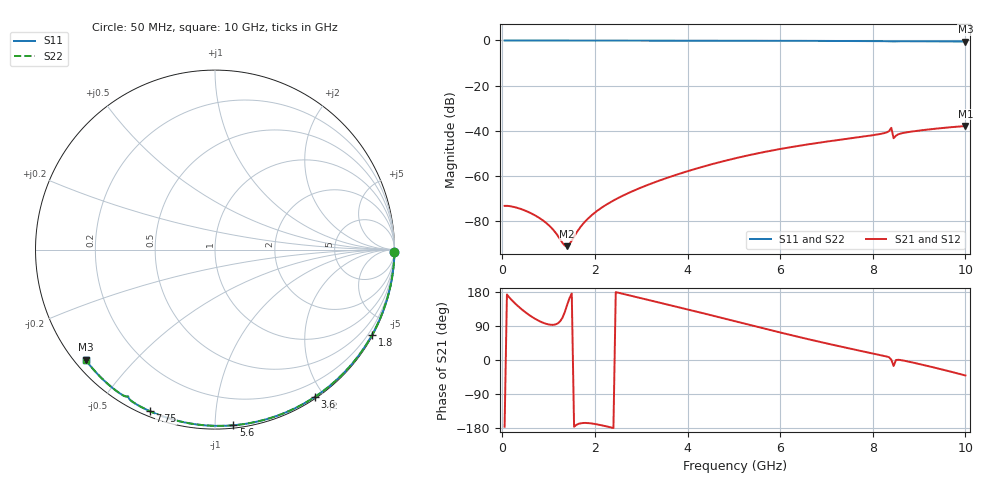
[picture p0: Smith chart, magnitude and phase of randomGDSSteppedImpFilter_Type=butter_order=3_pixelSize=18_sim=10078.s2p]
! freq	dB(S11)	phase(S11)	dB(S12)	phase(S12)
!  dB(S21)	phase(S21)	dB(S22)	phase(S22)
!S-par simulation data
#  GHz  S  DB  R 50
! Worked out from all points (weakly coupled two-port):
!   200 points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, 50 MHz to 10 GHz, reference 50 ohm
!   highest |S21| = -37.90 dB at 10 GHz (marker M1); lowest = -91.1 dB at 1.4 GHz (marker M2)
!   lowest |S11| = -0.5 dB at 10 GHz (marker M3), VSWR 36.72, Z = 1.55 - j18.4 ohm
!   |S11| at or under -10 dB: nowhere
!   |S22| runs from -0.5 to 0.0 dB; largest |S21 - S12| = 0
!   S11 on the Smith chart (normalised r, x): 50 MHz: open; 1.8 GHz: 0.03, -3.92; 3.6 GHz: 0.02, -1.89; 5.6 GHz: 0.02, -1.11; 7.75 GHz: 0.02, -0.67; 10 GHz: 0.03, -0.37
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0.05  -0.00 -0.8  -73.24 -176.1  -73.24 -176.1  -0.00 -0.8
0.45  -0.01 -7.3  -74.97 130.6  -74.97 130.6  -0.01 -7.3
0.7  -0.01 -11.3  -77.35 109.3  -77.35 109.3  -0.01 -11.3
0.9  -0.02 -14.4  -80.01 97.4  -80.01 97.4  -0.02 -14.4
1.4  -0.03 -22.4  -91.08 145.2  -91.08 145.2  -0.03 -22.4
1.75  -0.04 -27.8  -81.04 -166.2  -81.04 -166.2  -0.04 -27.8
1.8  -0.04 -28.6  -79.91 -166.1  -79.91 -166.1  -0.04 -28.6
2.05  -0.04 -32.5  -75.41 -170.0  -75.41 -170.0  -0.04 -32.5
2.45  -0.05 -38.6  -70.31 179.2  -70.31 179.2  -0.05 -38.6
3.4  -0.07 -52.9  -61.97 151.2  -61.97 151.2  -0.07 -52.9
3.6  -0.08 -55.9  -60.54 145.3  -60.54 145.3  -0.08 -55.9
5.05  -0.12 -76.5  -52.08 101.6  -52.08 101.6  -0.12 -76.5
5.6  -0.14 -84.1  -49.62 84.8  -49.62 84.8  -0.14 -84.1
6.7  -0.19 -98.6  -45.70 52.2  -45.70 52.2  -0.19 -98.6
7.75  -0.26 -112.0  -42.67 23.7  -42.67 23.7  -0.26 -112.0
8.2  -0.30 -117.8  -41.25 11.9  -41.25 11.9  -0.30 -117.8
8.35  -0.36 -119.8  -40.15 7.3  -40.15 7.3  -0.36 -119.8
8.4  -0.41 -120.4  -38.69 0.9  -38.69 0.9  -0.41 -120.4
8.45  -0.44 -120.6  -43.29 -15.7  -43.29 -15.7  -0.44 -120.6
8.55  -0.37 -121.5  -41.56 0.6  -41.56 0.6  -0.37 -121.5
8.7  -0.35 -123.5  -40.78 -2.4  -40.78 -2.4  -0.35 -123.5
10  -0.47 -139.6  -37.90 -40.8  -37.90 -40.8  -0.47 -139.6
